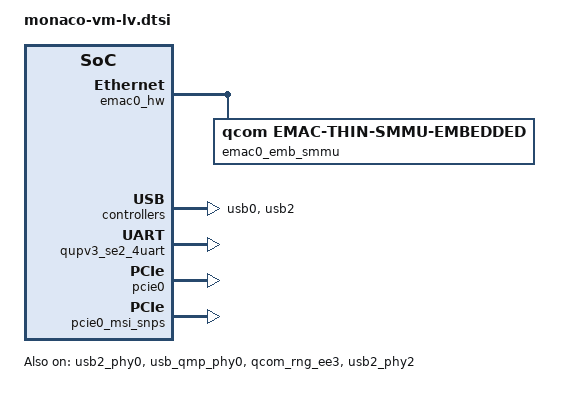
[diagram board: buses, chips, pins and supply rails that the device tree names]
&soc {
	mtl_rx_setup: rx-queues-config {
		snps,rx-queues-to-use = <1>;
		snps,rx-sched-sp;

		queue {
			snps,dcb-algorithm;
			snps,priority = <0x1>;
		};
	};

	mtl_tx_setup: tx-queues-config {
		snps,tx-queues-to-use = <1>;
		snps,tx-sched-sp;
		queue {
			snps,dcb-algorithm;
		};
	};

	emac0_hw: qcom,ethernet@23040000 {
		compatible = "qcom,stmmac-ethqos-emac0";
		emac-core-version = <0x30010000>;
		qcom,arm-smmu;
		reg = <0x23049000 0x1000>;
		reg-names = "stmmaceth";
		interrupts-extended = <&intc 0 945 4>, <&intc 0 944 4>,
			<&intc 0 943 4>, <&intc 0 942 4>,
			<&intc 0 941 4>, <&intc 0 940 4>,
			<&intc 0 939 4>, <&intc 0 938 4>,
			<&intc 0 859 4>,<&intc 0 863 4>,
			<&intc 0 866 4>,<&intc 0 869 4>,
			<&intc 0 870 4>,<&intc 0 871 4>,
			<&intc 0 872 4>,<&intc 0 858 4>;
		interrupt-names = "tx_ch0_intr", "tx_ch1_intr",
			"tx_ch2_intr", "tx_ch3_intr",
			"tx_ch4_intr", "tx_ch5_intr",
			"tx_ch6_intr", "tx_ch7_intr",
			"rx_ch0_intr","rx_ch1_intr",
			"rx_ch2_intr","rx_ch3_intr",
			"rx_ch4_intr","rx_ch5_intr",
			"rx_ch6_intr","rx_ch7_intr";

		snps,tso;
		snps,pbl = <32>;
		mac-address = [00 55 7B B5 7D f7];
		rx-fifo-depth = <4096>;
		tx-fifo-depth = <4096>;
		snps,mtl-rx-config = <&mtl_rx_setup>;
		snps,mtl-tx-config = <&mtl_tx_setup>;
		queue = <1>;
		emac0_emb_smmu: emac0_emb_smmu {
			compatible = "qcom,emac-thin-smmu-embedded";
			iommus = <&apps_smmu 0x122 0x1>;
			qcom,iommu-dma = "fastmap";
			qcom,iommu-dma-addr-pool = <0x80000000 0x40000000>;
		};
	};
};

&hab {
	vmid = <3>;
};

&usb0 {
	status = "ok";
};

&usb2_phy0 {
	status = "ok";
};

&usb_qmp_phy0 {
	status = "ok";
};

&qupv3_se2_4uart {
	status = "ok";
};

&qcom_rng_ee3 {
	status = "ok";
};

&pcie0 {
	status = "ok";
};

&pcie0_msi_snps {
	status = "ok";
};

&usb2 {
	status = "ok";
};

&usb2_phy2 {
	status = "ok";
};
